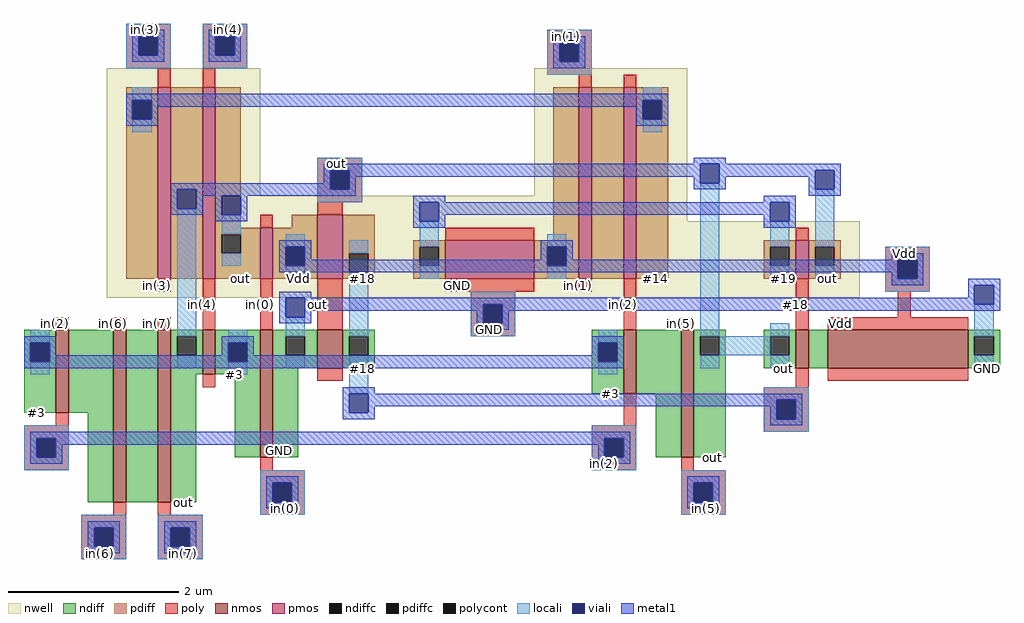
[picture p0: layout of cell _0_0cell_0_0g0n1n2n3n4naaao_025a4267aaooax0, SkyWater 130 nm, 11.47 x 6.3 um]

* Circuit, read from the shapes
.subckt _0_0cell_0_0g0n1n2n3n4naaao_025a4267aaooax0 GND Vdd in(7) in(6) in(5) in(4) in(3) in(2) in(1) out in(0)
XM1 n1 in(2) #3 VSUBS sky130_fd_pr__nfet_01v8 w=0.975 l=0.15
XM2 n2 in(6) n1 VSUBS sky130_fd_pr__nfet_01v8 w=2.025 l=0.15
XM3 out in(7) n2 VSUBS sky130_fd_pr__nfet_01v8 w=2.025 l=0.15
XM4 #3 in(4) out VSUBS sky130_fd_pr__nfet_01v8 w=0.525 l=0.15
XM5 GND in(0) #3 VSUBS sky130_fd_pr__nfet_01v8 w=1.5 l=0.15
XM6 #18 out GND VSUBS sky130_fd_pr__nfet_01v8 w=0.45 l=0.3
XM7 n3 in(2) #3 VSUBS sky130_fd_pr__nfet_01v8 w=0.75 l=0.15
XM8 out in(5) n3 VSUBS sky130_fd_pr__nfet_01v8 w=1.5 l=0.15
XM9 n4 #18 out VSUBS sky130_fd_pr__nfet_01v8 w=0.45 l=0.15
XM10 GND Vdd n4 VSUBS sky130_fd_pr__nfet_01v8 w=0.45 l=1.65
XM11 n5 in(3) #14 n6 sky130_fd_pr__pfet_01v8 w=2.25 l=0.15
XM12 out in(4) n5 n6 sky130_fd_pr__pfet_01v8 w=2.25 l=0.15
XM13 Vdd in(0) out n6 sky130_fd_pr__pfet_01v8 w=0.6 l=0.15
XM14 #18 out Vdd n6 sky130_fd_pr__pfet_01v8 w=0.75 l=0.3
XM15 Vdd GND #19 n6 sky130_fd_pr__pfet_01v8 w=0.45 l=1.05
XM16 n7 in(1) Vdd n6 sky130_fd_pr__pfet_01v8 w=2.25 l=0.15
XM17 #14 in(2) n7 n6 sky130_fd_pr__pfet_01v8 w=2.25 l=0.15
XM18 out #18 #19 n6 sky130_fd_pr__pfet_01v8 w=0.45 l=0.15
.ends

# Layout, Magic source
magic
tech sky130A
magscale 1 2
<< nwell >>
rect 315 795 675 1095
rect 1320 795 1680 1095
rect 315 735 1680 795
rect 315 555 2085 735
<< nmos >>
rect 195 285 225 480
rect 330 75 360 480
rect 435 75 465 480
rect 540 375 570 480
rect 675 180 705 480
rect 810 390 870 480
rect 1530 330 1560 480
rect 1665 180 1695 480
rect 1935 390 1965 480
rect 2010 390 2340 480
<< pmos >>
rect 435 600 465 1050
rect 540 600 570 1050
rect 675 600 705 720
rect 810 600 870 750
rect 1110 600 1320 690
rect 1425 600 1455 1050
rect 1530 600 1560 1050
rect 1935 600 1965 690
<< ndiff >>
rect 120 450 195 480
rect 120 405 135 450
rect 180 405 195 450
rect 120 285 195 405
rect 225 285 330 480
rect 270 75 330 285
rect 360 75 435 480
rect 465 465 540 480
rect 465 420 480 465
rect 525 420 540 465
rect 465 375 540 420
rect 570 450 675 480
rect 570 405 600 450
rect 645 405 675 450
rect 570 375 675 405
rect 465 75 525 375
rect 615 180 675 375
rect 705 465 810 480
rect 705 420 735 465
rect 780 420 810 465
rect 705 390 810 420
rect 870 465 945 480
rect 870 420 885 465
rect 930 420 945 465
rect 870 390 945 420
rect 1455 450 1530 480
rect 1455 405 1470 450
rect 1515 405 1530 450
rect 705 180 765 390
rect 1455 330 1530 405
rect 1560 330 1665 480
rect 1605 180 1665 330
rect 1695 465 1770 480
rect 1695 420 1710 465
rect 1755 420 1770 465
rect 1695 180 1770 420
rect 1860 465 1935 480
rect 1860 420 1875 465
rect 1920 420 1935 465
rect 1860 390 1935 420
rect 1965 390 2010 480
rect 2340 465 2415 480
rect 2340 420 2355 465
rect 2400 420 2415 465
rect 2340 390 2415 420
<< pdiff >>
rect 360 1020 435 1050
rect 360 975 375 1020
rect 420 975 435 1020
rect 360 600 435 975
rect 465 600 540 1050
rect 570 720 630 1050
rect 750 720 810 750
rect 570 705 675 720
rect 570 660 585 705
rect 630 660 675 705
rect 570 600 675 660
rect 705 675 810 720
rect 705 630 735 675
rect 780 630 810 675
rect 705 600 810 630
rect 870 660 945 750
rect 1365 690 1425 1050
rect 870 615 885 660
rect 930 615 945 660
rect 870 600 945 615
rect 1035 675 1110 690
rect 1035 630 1050 675
rect 1095 630 1110 675
rect 1035 600 1110 630
rect 1320 675 1425 690
rect 1320 630 1350 675
rect 1395 630 1425 675
rect 1320 600 1425 630
rect 1455 600 1530 1050
rect 1560 1020 1635 1050
rect 1560 975 1575 1020
rect 1620 975 1635 1020
rect 1560 600 1635 975
rect 1860 675 1935 690
rect 1860 630 1875 675
rect 1920 630 1935 675
rect 1860 600 1935 630
rect 1965 675 2040 690
rect 1965 630 1980 675
rect 2025 630 2040 675
rect 1965 600 2040 630
<< ndiffc >>
rect 135 405 180 450
rect 480 420 525 465
rect 600 405 645 450
rect 735 420 780 465
rect 885 420 930 465
rect 1470 405 1515 450
rect 1710 420 1755 465
rect 1875 420 1920 465
rect 2355 420 2400 465
<< pdiffc >>
rect 375 975 420 1020
rect 585 660 630 705
rect 735 630 780 675
rect 885 615 930 660
rect 1050 630 1095 675
rect 1350 630 1395 675
rect 1575 975 1620 1020
rect 1875 630 1920 675
rect 1980 630 2025 675
<< poly >>
rect 360 1170 465 1200
rect 360 1125 390 1170
rect 435 1125 465 1170
rect 360 1095 465 1125
rect 435 1050 465 1095
rect 540 1170 645 1200
rect 540 1125 570 1170
rect 615 1125 645 1170
rect 540 1095 645 1125
rect 1350 1155 1455 1185
rect 1350 1110 1380 1155
rect 1425 1110 1455 1155
rect 540 1050 570 1095
rect 1350 1080 1455 1110
rect 1425 1050 1455 1080
rect 1530 1050 1560 1080
rect 810 855 915 885
rect 810 810 840 855
rect 885 810 915 855
rect 810 780 915 810
rect 810 750 870 780
rect 675 720 705 750
rect 1110 690 1320 720
rect 1935 690 1965 720
rect 2145 645 2250 675
rect 2145 600 2175 645
rect 2220 600 2250 645
rect 435 570 465 600
rect 195 480 225 510
rect 330 480 360 510
rect 435 480 465 510
rect 540 480 570 600
rect 675 480 705 600
rect 810 480 870 600
rect 1110 570 1320 600
rect 1425 570 1455 600
rect 1170 540 1275 570
rect 1170 495 1200 540
rect 1245 495 1275 540
rect 195 255 225 285
rect 120 225 225 255
rect 120 180 150 225
rect 195 180 225 225
rect 120 150 225 180
rect 540 345 570 375
rect 1170 465 1275 495
rect 1530 480 1560 600
rect 1665 480 1695 510
rect 1935 480 1965 600
rect 2145 570 2250 600
rect 2175 510 2205 570
rect 2010 480 2340 510
rect 810 360 870 390
rect 1530 255 1560 330
rect 1455 225 1560 255
rect 1455 180 1485 225
rect 1530 180 1560 225
rect 1935 345 1965 390
rect 2010 360 2340 390
rect 1860 315 1965 345
rect 1860 270 1890 315
rect 1935 270 1965 315
rect 1860 240 1965 270
rect 675 150 705 180
rect 1455 150 1560 180
rect 1665 150 1695 180
rect 675 120 780 150
rect 675 75 705 120
rect 750 75 780 120
rect 330 45 360 75
rect 255 15 360 45
rect 255 -30 285 15
rect 330 -30 360 15
rect 255 -60 360 -30
rect 435 45 465 75
rect 675 45 780 75
rect 1665 120 1770 150
rect 1665 75 1695 120
rect 1740 75 1770 120
rect 1665 45 1770 75
rect 435 15 540 45
rect 435 -30 465 15
rect 510 -30 540 15
rect 435 -60 540 -30
<< polycont >>
rect 390 1125 435 1170
rect 570 1125 615 1170
rect 1380 1110 1425 1155
rect 840 810 885 855
rect 2175 600 2220 645
rect 1200 495 1245 540
rect 150 180 195 225
rect 1485 180 1530 225
rect 1890 270 1935 315
rect 705 75 750 120
rect 285 -30 330 15
rect 1695 75 1740 120
rect 465 -30 510 15
<< locali >>
rect 360 1170 465 1200
rect 360 1125 390 1170
rect 435 1125 465 1170
rect 360 1095 465 1125
rect 540 1170 645 1200
rect 540 1125 570 1170
rect 615 1125 645 1170
rect 540 1095 645 1125
rect 1350 1155 1455 1185
rect 1350 1110 1380 1155
rect 1425 1110 1455 1155
rect 1350 1080 1455 1110
rect 375 1020 420 1050
rect 375 945 420 975
rect 1575 1020 1620 1050
rect 1575 945 1620 975
rect 810 855 915 885
rect 810 810 840 855
rect 885 810 915 855
rect 135 450 180 480
rect 135 375 180 405
rect 480 465 525 765
rect 810 780 915 810
rect 585 705 630 750
rect 585 630 630 660
rect 735 675 780 705
rect 735 600 780 630
rect 885 660 930 690
rect 480 390 525 420
rect 600 450 645 480
rect 600 375 645 405
rect 735 465 780 510
rect 735 390 780 420
rect 885 465 930 615
rect 1050 675 1095 735
rect 1050 600 1095 630
rect 1350 675 1395 705
rect 1350 600 1395 630
rect 1170 540 1275 570
rect 1170 495 1200 540
rect 1245 495 1275 540
rect 1170 465 1275 495
rect 885 330 930 420
rect 1470 450 1515 480
rect 1470 375 1515 405
rect 1710 465 1755 825
rect 1875 675 1920 735
rect 1875 600 1920 630
rect 1980 675 2025 810
rect 1980 600 2025 630
rect 2145 645 2250 675
rect 2145 600 2175 645
rect 2220 600 2250 645
rect 2145 570 2250 600
rect 1875 465 1920 495
rect 1755 420 1875 465
rect 1710 390 1755 420
rect 1875 390 1920 420
rect 2355 465 2400 540
rect 2355 390 2400 420
rect 1860 315 1965 345
rect 1860 270 1890 315
rect 1935 270 1965 315
rect 120 225 225 255
rect 120 180 150 225
rect 195 180 225 225
rect 120 150 225 180
rect 1455 225 1560 255
rect 1860 240 1965 270
rect 1455 180 1485 225
rect 1530 180 1560 225
rect 1455 150 1560 180
rect 675 120 780 150
rect 675 75 705 120
rect 750 75 780 120
rect 675 45 780 75
rect 1665 120 1770 150
rect 1665 75 1695 120
rect 1740 75 1770 120
rect 1665 45 1770 75
rect 255 15 360 45
rect 255 -30 285 15
rect 330 -30 360 15
rect 255 -60 360 -30
rect 435 15 540 45
rect 435 -30 465 15
rect 510 -30 540 15
rect 435 -60 540 -30
<< viali >>
rect 390 1125 435 1170
rect 570 1125 615 1170
rect 1380 1110 1425 1155
rect 375 975 420 1020
rect 1575 975 1620 1020
rect 840 810 885 855
rect 480 765 525 810
rect 135 405 180 450
rect 585 750 630 795
rect 1710 825 1755 870
rect 1050 735 1095 780
rect 735 630 780 675
rect 735 510 780 555
rect 600 405 645 450
rect 1350 630 1395 675
rect 1200 495 1245 540
rect 1470 405 1515 450
rect 1980 810 2025 855
rect 1875 735 1920 780
rect 2175 600 2220 645
rect 2355 540 2400 585
rect 885 285 930 330
rect 1890 270 1935 315
rect 150 180 195 225
rect 1485 180 1530 225
rect 705 75 750 120
rect 1695 75 1740 120
rect 285 -30 330 15
rect 465 -30 510 15
<< metal1 >>
rect 375 1170 450 1185
rect 375 1125 390 1170
rect 435 1125 450 1170
rect 375 1110 450 1125
rect 555 1170 630 1185
rect 555 1125 570 1170
rect 615 1125 630 1170
rect 555 1110 630 1125
rect 1365 1155 1440 1170
rect 1365 1110 1380 1155
rect 1425 1110 1440 1155
rect 1365 1095 1440 1110
rect 360 1020 1635 1035
rect 360 975 375 1020
rect 420 1005 1575 1020
rect 420 975 435 1005
rect 360 960 435 975
rect 1560 975 1575 1005
rect 1620 975 1635 1020
rect 1560 960 1635 975
rect 1695 870 1770 885
rect 825 855 1710 870
rect 825 825 840 855
rect 465 810 840 825
rect 885 840 1710 855
rect 885 810 900 840
rect 1695 825 1710 840
rect 1755 855 2040 870
rect 1755 840 1980 855
rect 1755 825 1770 840
rect 1695 810 1770 825
rect 1965 810 1980 840
rect 2025 810 2040 855
rect 465 765 480 810
rect 525 795 900 810
rect 1965 795 2040 810
rect 525 765 540 795
rect 465 750 540 765
rect 570 750 585 795
rect 630 750 645 795
rect 570 735 645 750
rect 1035 780 1110 795
rect 1860 780 1935 795
rect 1035 735 1050 780
rect 1095 750 1875 780
rect 1095 735 1110 750
rect 1035 720 1110 735
rect 1860 735 1875 750
rect 1920 735 1935 780
rect 1860 720 1935 735
rect 720 675 795 690
rect 720 630 735 675
rect 780 645 795 675
rect 1335 675 1410 690
rect 1335 645 1350 675
rect 780 630 1350 645
rect 1395 645 1410 675
rect 2160 645 2235 660
rect 1395 630 2175 645
rect 720 615 2175 630
rect 2160 600 2175 615
rect 2220 600 2235 645
rect 2160 585 2235 600
rect 2340 585 2415 600
rect 720 555 795 570
rect 2340 555 2355 585
rect 720 510 735 555
rect 780 540 2355 555
rect 2400 540 2415 585
rect 780 525 1200 540
rect 780 510 795 525
rect 720 495 795 510
rect 1185 495 1200 525
rect 1245 525 2415 540
rect 1245 495 1260 525
rect 1185 480 1260 495
rect 120 450 195 465
rect 120 405 135 450
rect 180 420 195 450
rect 585 450 660 465
rect 585 420 600 450
rect 180 405 600 420
rect 645 420 660 450
rect 1455 450 1530 465
rect 1455 420 1470 450
rect 645 405 1470 420
rect 1515 405 1530 450
rect 120 390 1530 405
rect 870 330 945 345
rect 870 285 885 330
rect 930 315 1950 330
rect 930 300 1890 315
rect 930 285 945 300
rect 870 270 945 285
rect 1875 270 1890 300
rect 1935 270 1950 315
rect 1875 255 1950 270
rect 135 225 1545 240
rect 135 180 150 225
rect 195 210 1485 225
rect 195 180 210 210
rect 135 165 210 180
rect 1470 180 1485 210
rect 1530 180 1545 225
rect 1470 165 1545 180
rect 690 120 765 135
rect 690 75 705 120
rect 750 75 765 120
rect 690 60 765 75
rect 1680 120 1755 135
rect 1680 75 1695 120
rect 1740 75 1755 120
rect 1680 60 1755 75
rect 270 15 345 30
rect 270 -30 285 15
rect 330 -30 345 15
rect 270 -45 345 -30
rect 450 15 525 30
rect 450 -30 465 15
rect 510 -30 525 15
rect 450 -45 525 -30
<< labels >>
flabel poly 195 495 195 495 3 FreeSerif 120 0 0 0 in(2)
flabel poly 330 495 330 495 3 FreeSerif 120 0 0 0 in(6)
flabel poly 435 495 435 495 3 FreeSerif 120 0 0 0 in(7)
flabel poly 435 585 435 585 3 FreeSerif 120 0 0 0 in(3)
flabel poly 540 540 540 540 3 FreeSerif 120 0 0 0 in(4)
flabel poly 675 540 675 540 3 FreeSerif 120 0 0 0 in(0)
flabel poly 810 540 810 540 3 FreeSerif 120 0 0 0 out
flabel poly 1140 585 1140 585 3 FreeSerif 120 0 0 0 GND
flabel poly 1425 585 1425 585 3 FreeSerif 120 0 0 0 in(1)
flabel poly 1530 540 1530 540 3 FreeSerif 120 0 0 0 in(2)
flabel poly 1665 495 1665 495 3 FreeSerif 120 0 0 0 in(5)
flabel poly 1935 540 1935 540 3 FreeSerif 120 0 0 0 #18
flabel poly 2040 495 2040 495 3 FreeSerif 120 0 0 0 Vdd
flabel pdiff 405 600 405 600 1 FreeSerif 120 0 0 0 #14
flabel pdiff 630 600 630 600 1 FreeSerif 120 0 0 0 out
flabel pdiff 765 600 765 600 1 FreeSerif 120 0 0 0 Vdd
flabel pdiff 915 600 915 600 1 FreeSerif 120 0 0 0 #18
flabel pdiff 1080 600 1080 600 1 FreeSerif 120 0 0 0 #19
flabel pdiff 1380 600 1380 600 1 FreeSerif 120 0 0 0 Vdd
flabel pdiff 1605 600 1605 600 1 FreeSerif 120 0 0 0 #14
flabel pdiff 1905 600 1905 600 1 FreeSerif 120 0 0 0 #19
flabel pdiff 2010 600 2010 600 1 FreeSerif 120 0 0 0 out
flabel ndiff 1905 390 1905 390 1 FreeSerif 120 0 0 0 out
flabel ndiff 2385 390 2385 390 1 FreeSerif 120 0 0 0 GND
flabel ndiff 1500 330 1500 330 1 FreeSerif 120 0 0 0 #3
flabel ndiff 1740 180 1740 180 1 FreeSerif 120 0 0 0 out
flabel ndiff 915 390 915 390 1 FreeSerif 120 0 0 0 #18
flabel ndiff 720 195 720 195 3 FreeSerif 120 0 0 0 GND
flabel ndiff 615 375 615 375 1 FreeSerif 120 0 0 0 #3
flabel ndiff 495 75 495 75 1 FreeSerif 120 0 0 0 out
flabel ndiff 150 285 150 285 1 FreeSerif 120 0 0 0 #3
flabel metal1 1215 480 1215 480 5 FreeSerif 120 0 0 0 GND
port 1 s
flabel metal1 2190 660 2190 660 1 FreeSerif 120 0 0 0 Vdd
port 2 n
flabel metal1 495 -45 495 -45 5 FreeSerif 120 0 0 0 in(7)
port 3 s
flabel metal1 300 -45 300 -45 5 FreeSerif 120 0 0 0 in(6)
port 4 s
flabel metal1 1725 60 1725 60 5 FreeSerif 120 0 0 0 in(5)
port 5 s
flabel metal1 600 1185 600 1185 1 FreeSerif 120 0 0 0 in(4)
port 6 n
flabel metal1 405 1185 405 1185 1 FreeSerif 120 0 0 0 in(3)
port 7 n
flabel metal1 1485 165 1485 165 5 FreeSerif 120 0 0 0 in(2)
port 8 s
flabel metal1 1395 1170 1395 1170 1 FreeSerif 120 0 0 0 in(1)
port 9 n
flabel metal1 855 870 855 870 1 FreeSerif 120 0 0 0 out
port 10 n
flabel metal1 735 60 735 60 5 FreeSerif 120 0 0 0 in(0)
port 11 s
<< end >>
